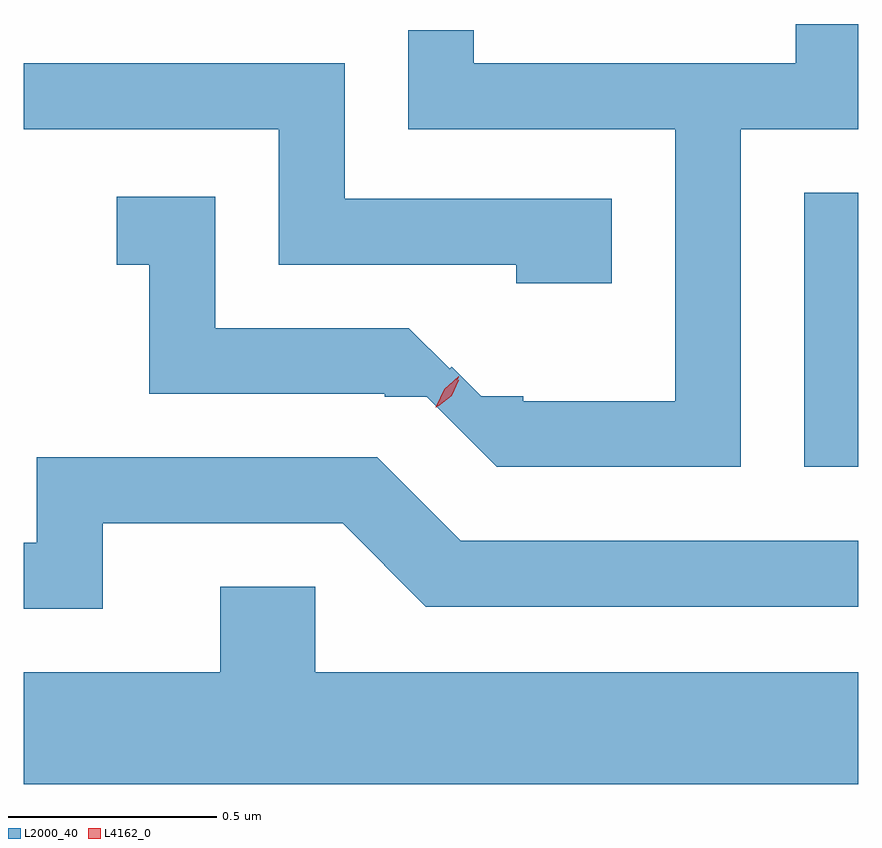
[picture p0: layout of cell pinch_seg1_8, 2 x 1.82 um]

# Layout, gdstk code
import gdstk
lib = gdstk.Library(unit=1e-6, precision=1e-09)
def R(c, l, rs):  # rectangles x0, y0, x1, y1
    for r in rs: c.add(gdstk.rectangle(r[:2], r[2:], *l))
def P(c, l, *ps):  # polygons
    for p in ps: c.add(gdstk.Polygon(p, *l))
L2000_40 = (2000, 40)
L4162_0 = (4162, 0)

pinch_seg1_8 = lib.new_cell('pinch_seg1_8')
R(pinch_seg1_8, L2000_40, [(1539.911,869.256,1540.04,869.914)])
P(pinch_seg1_8, L2000_40, [(1539.759,870.066),(1540.04,870.066),(1540.04,870.318),(1539.891,870.318),(1539.891,870.224),(1539.119,870.224),(1539.119,870.303),(1538.961,870.303),(1538.961,870.066),(1539.601,870.066),(1539.601,869.414),(1539.237,869.414),(1539.237,869.426),(1539.137,869.426),(1539.066,869.496),(1539.061,869.491),(1538.963,869.589),(1538.499,869.589),(1538.499,869.904),(1538.263,869.904),(1538.263,869.741),(1538.341,869.741),(1538.341,869.431),(1538.905,869.431),(1538.905,869.424),(1539.006,869.424),(1539.174,869.256),(1539.759,869.256)],
  [(1539.449,869.899),(1538.809,869.899),(1538.809,870.224),(1538.04,870.224),(1538.04,870.066),(1538.651,870.066),(1538.651,869.741),(1539.221,869.741),(1539.221,869.696),(1539.449,869.696)],
  [(1538.229,869.121),(1538.804,869.121),(1539.004,868.921),(1540.04,868.921),(1540.04,869.079),(1539.087,869.079),(1538.887,869.279),(1538.071,869.279),(1538.071,869.074),(1538.04,869.074),(1538.04,868.916),(1538.229,868.916)],
  [(1540.04,868.764),(1538.739,868.764),(1538.739,868.969),(1538.511,868.969),(1538.511,868.764),(1538.04,868.764),(1538.04,868.496),(1540.04,868.496)])
P(pinch_seg1_8, L4162_0, [(1539.028,869.399),(1539.028,869.399),(1539.048,869.442),(1539.082,869.473),(1539.083,869.473),(1539.083,869.472),(1539.064,869.43),(1539.029,869.399)],
  [(1539.033,869.402),(1539.033,869.403),(1539.05,869.44),(1539.083,869.465),(1539.083,869.465),(1539.083,869.464),(1539.066,869.427),(1539.034,869.402)])

lib.write_gds('pinch_seg1_8.gds')
